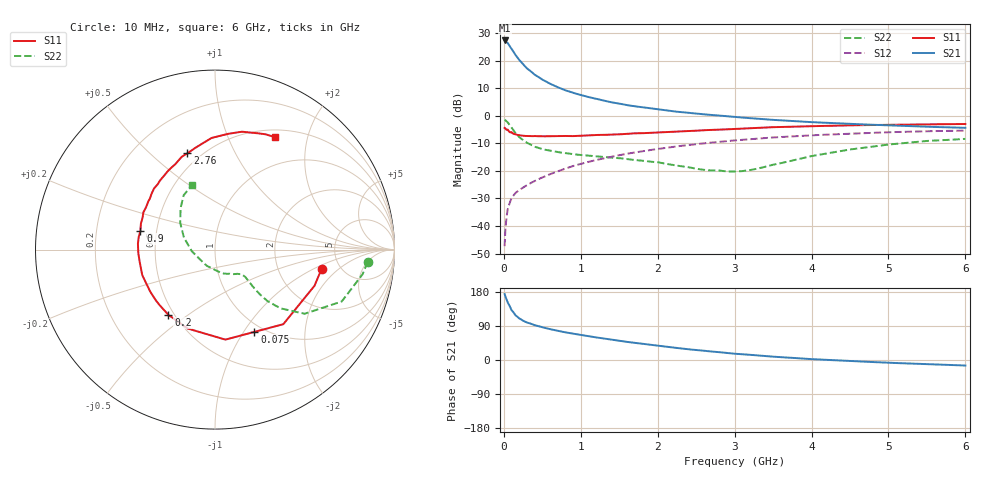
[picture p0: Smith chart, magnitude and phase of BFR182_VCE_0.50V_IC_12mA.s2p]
! Infineon Technologies  Discrete & RF Semiconductors
! BFR182
! VCE = 0.50 V,  IC =  12 mA
! Common Emitter S-Parameters:  Nov 2015
# GHz  S  MA  R  50
!  f  S11  S21  S12  S22
! GHz  MAG  ANG  MAG  ANG  MAG  ANG  MAG  ANG
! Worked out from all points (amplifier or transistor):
!   210 points, 10 MHz to 6 GHz, reference 50 ohm
!   highest |S21| = 27.4 dB at 10 MHz (marker M1)
!   |S21| within 3 dB of that: start of sweep to 99.63 MHz
!   unconditionally stable (mu >= 1): 324.9 MHz to end of sweep
!   at 185 MHz: K = 0.74, MSG = 24.1 dB, |S12| = -27.3 dB
!   at 1.52 GHz: K = 1.28, MAG = 6.1 dB, |S12| = -14.2 dB
!   at 6 GHz: K = 1.08, MAG = -1.2 dB, |S12| = -5.4 dB
!   S11 on the Smith chart (normalised r, x): 10 MHz: 3.60, -1.22; 75 MHz: 0.91, -1.12; 200 MHz: 0.47, -0.42; 900 MHz: 0.41, +0.10; 2.76 GHz: 0.43, +0.66; 6 GHz: 0.59, +1.50
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0.01  0.6035 -10.3  23.37 174.0  0.0043 84.6  0.853 -4.7
0.02  0.5898 -20.0  23.01 167.6  0.0085 80.6  0.8336 -9.5
0.05  0.5635 -47.5  21.02 151.4  0.0199 69.2  0.7627 -22.3
0.075  0.5083 -64.4  18.5 142.7  0.0259 63.5  0.6838 -28.2
0.1  0.5049 -83.4  16.52 131.7  0.032 59.9  0.614 -35.6
0.15  0.4654 -109.1  12.81 118.1  0.0397 55.0  0.4898 -41.9
0.2  0.4465 -125.6  10.37 109.8  0.0448 54.6  0.4111 -44.4
0.24  0.4369 -135.1  8.937 105.0  0.0489 54.4  0.3712 -44.8
0.3  0.4302 -147.2  7.281 98.9  0.055 56.6  0.3247 -44.7
0.4  0.4295 -160.8  5.597 91.9  0.0655 58.4  0.2748 -43.9
0.5  0.4253 -169.6  4.55 86.3  0.076 59.9  0.2478 -42.8
0.6  0.4277 -177.3  3.835 81.4  0.0871 61.2  0.233 -42.1
0.7  0.4307 175.6  3.309 76.8  0.0982 61.9  0.2199 -42.2
0.9  0.4286 165.8  2.609 69.4  0.1226 62.1  0.2007 -43.3
1.02  0.4379 159.8  2.35 65.5  0.1364 61.7  0.1934 -44.8
1.4  0.458 144.7  1.76 53.9  0.1809 59.3  0.1739 -51.7
2.02  0.4983 125.3  1.303 37.4  0.2526 53.0  0.142 -69.7
2.76  0.5583 106.0  1.024 21.4  0.3333 43.8  0.1016 -112.8
3.1  0.5856 98.9  0.93 15.2  0.367 38.9  0.0992 -145.1
4.1  0.6532 82.3  0.757 1.4  0.4496 25.5  0.1963 154.7
5.1  0.689 70.4  0.664 -8.0  0.5079 12.8  0.3099 127.4
6  0.7105 61.8  0.606 -14.6  0.5387 1.6  0.3817 109.2
